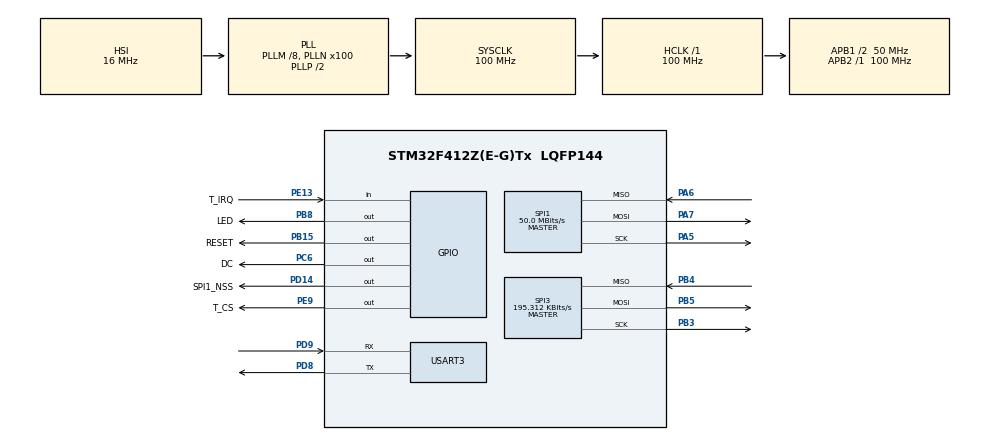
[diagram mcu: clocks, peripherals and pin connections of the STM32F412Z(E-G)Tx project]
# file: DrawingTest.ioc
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Dma.Request0=SPI1_TX
Dma.SPI1_TX.0.Direction=DMA_MEMORY_TO_PERIPH
Dma.SPI1_TX.0.FIFOMode=DMA_FIFOMODE_DISABLE
Dma.SPI1_TX.0.Instance=DMA2_Stream2
Dma.SPI1_TX.0.MemDataAlignment=DMA_MDATAALIGN_BYTE
Dma.SPI1_TX.0.MemInc=DMA_MINC_ENABLE
Dma.SPI1_TX.0.Mode=DMA_NORMAL
Dma.SPI1_TX.0.PeriphDataAlignment=DMA_PDATAALIGN_BYTE
Dma.SPI1_TX.0.PeriphInc=DMA_PINC_DISABLE
Dma.SPI1_TX.0.Priority=DMA_PRIORITY_LOW
Mcu.Family=STM32F4
Mcu.Name=STM32F412Z(E-G)Tx
Mcu.Package=LQFP144
NVIC.DMA2_Stream2_IRQn=true\:1\:0\:true\:false\:true\:false\:true
NVIC.PriorityGroup=NVIC_PRIORITYGROUP_4
NVIC.SPI1_IRQn=true\:2\:0\:true\:false\:true\:true\:true
NVIC.SPI3_IRQn=true\:3\:0\:true\:false\:true\:true\:true
NVIC.USART3_IRQn=true\:4\:0\:true\:false\:true\:true\:true
PA5.Mode=Full_Duplex_Master
PA5.Signal=SPI1_SCK
PA6.Mode=Full_Duplex_Master
PA6.Signal=SPI1_MISO
PA7.Mode=Full_Duplex_Master
PA7.Signal=SPI1_MOSI
PB15.GPIO_Label=RESET
PB15.GPIO_Speed=GPIO_SPEED_FREQ_VERY_HIGH
PB15.PinState=GPIO_PIN_SET
PB15.Signal=GPIO_Output
PB3.Mode=Full_Duplex_Master
PB3.Signal=SPI3_SCK
PB4.Mode=Full_Duplex_Master
PB4.Signal=SPI3_MISO
PB5.Mode=Full_Duplex_Master
PB5.Signal=SPI3_MOSI
PB8.GPIO_Label=LED
PB8.GPIO_Speed=GPIO_SPEED_FREQ_VERY_HIGH
PB8.PinState=GPIO_PIN_SET
PB8.Signal=GPIO_Output
PC6.GPIO_Label=DC
PC6.GPIO_Speed=GPIO_SPEED_FREQ_VERY_HIGH
PC6.PinState=GPIO_PIN_SET
PC6.Signal=GPIO_Output
PD14.GPIO_Label=SPI1_NSS
PD14.GPIO_Speed=GPIO_SPEED_FREQ_VERY_HIGH
PD14.PinState=GPIO_PIN_SET
PD14.Signal=GPIO_Output
PD8.Mode=Asynchronous
PD8.Signal=USART3_TX
PD9.Mode=Asynchronous
PD9.Signal=USART3_RX
PE13.GPIO_Label=T_IRQ
PE13.Signal=GPIO_Input
PE9.GPIO_Label=T_CS
PE9.GPIO_PuPd=GPIO_NOPULL
PE9.GPIO_Speed=GPIO_SPEED_FREQ_VERY_HIGH
PE9.PinState=GPIO_PIN_SET
PE9.Signal=GPIO_Output
ProjectManager.HeapSize=0x200
ProjectManager.StackSize=0x400
ProjectManager.TargetToolchain=STM32CubeIDE
RCC.AHBFreq_Value=100000000
RCC.APB1CLKDivider=RCC_HCLK_DIV2
RCC.APB1Freq_Value=50000000
RCC.APB1TimFreq_Value=100000000
RCC.APB2Freq_Value=100000000
RCC.APB2TimFreq_Value=100000000
RCC.CortexFreq_Value=100000000
RCC.HCLKFreq_Value=100000000
RCC.PLLM=8
RCC.PLLN=100
RCC.SYSCLKFreq_VALUE=100000000
RCC.SYSCLKSource=RCC_SYSCLKSOURCE_PLLCLK
RCC.USBFreq_Value=100000000
RCC.VCOOutputFreq_Value=200000000
SPI1.CalculateBaudRate=50.0 MBits/s
SPI1.Direction=SPI_DIRECTION_2LINES
SPI1.Mode=SPI_MODE_MASTER
SPI1.VirtualType=VM_MASTER
SPI3.BaudRatePrescaler=SPI_BAUDRATEPRESCALER_256
SPI3.CalculateBaudRate=195.312 KBits/s
SPI3.Direction=SPI_DIRECTION_2LINES
SPI3.Mode=SPI_MODE_MASTER
SPI3.VirtualType=VM_MASTER
USART3.VirtualMode=VM_ASYNC
board=custom

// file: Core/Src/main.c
/* USER CODE BEGIN Header */
/**
  ******************************************************************************
  * @file           : main.c
  * @brief          : Main program body
  ******************************************************************************
  * @attention
  *
  * <h2><center>&copy; Copyright (c) 2020 STMicroelectronics.
  * All rights reserved.</center></h2>
  *
  * This software component is licensed by ST under BSD 3-Clause license,
  * the "License"; You may not use this file except in compliance with the
  * License. You may obtain a copy of the License at:
  *                        opensource.org/licenses/BSD-3-Clause
  *
  ******************************************************************************
  */
/* USER CODE END Header */

#include "main.h"

/* USER CODE BEGIN Includes */
#include "gui.h"
#include "ili9341.h"
#include "xpt2046.h"
#include <stdio.h>
#include <string.h>

/* USER CODE END Includes */

SPI_HandleTypeDef hspi1;
SPI_HandleTypeDef hspi3;
DMA_HandleTypeDef hdma_spi1_tx;

UART_HandleTypeDef huart3;

void SystemClock_Config(void);
static void MX_GPIO_Init(void);
static void MX_DMA_Init(void);
static void MX_SPI1_Init(void);
static void MX_SPI3_Init(void);
static void MX_USART3_UART_Init(void);

int main(void)
{
  /* USER CODE BEGIN 1 */
	uint16_t x, y;

  /* USER CODE END 1 */

  /* MCU Configuration--------------------------------------------------------*/

  /* Reset of all peripherals, Initializes the Flash interface and the Systick. */
  HAL_Init();

  /* Configure the system clock */
  SystemClock_Config();

  /* Initialize all configured peripherals */
  MX_GPIO_Init();
  MX_DMA_Init();
  MX_SPI1_Init();
  MX_SPI3_Init();
  MX_USART3_UART_Init();
  /* USER CODE BEGIN 2 */
  __HAL_SPI_DISABLE(&hspi3);
  x = y = 0;
  ILI9341_Init();
  GUI_FillScreen(BLUE);
  GUI_UpdateScreen();

  /* USER CODE END 2 */

  /* Infinite loop */
  while (1)
  {

    /* USER CODE BEGIN 3 */
	  XPT2046_Update(&x, &y);
	  if (XPT2046_IsReasonable(x, y)) {
		  uint8_t str[16];
		  GUI_NormalizeXY((int16_t *)&x, (int16_t *)&y);
		  GUI_WriteSquare(x, y, WHITE);
		  sprintf((char *)str, "%d %d\n", x, y);
		  HAL_UART_Transmit(&huart3, str, strlen((char *)str), 1000);
	  }
  }
  /* USER CODE END 3 */
}

void SystemClock_Config(void)
{
  RCC_OscInitTypeDef RCC_OscInitStruct = {0};
  RCC_ClkInitTypeDef RCC_ClkInitStruct = {0};

  /** Configure the main internal regulator output voltage
  */
  __HAL_RCC_PWR_CLK_ENABLE();
  __HAL_PWR_VOLTAGESCALING_CONFIG(PWR_REGULATOR_VOLTAGE_SCALE1);
  /** Initializes the CPU, AHB and APB busses clocks
  */
  RCC_OscInitStruct.OscillatorType = RCC_OSCILLATORTYPE_HSI;
  RCC_OscInitStruct.HSIState = RCC_HSI_ON;
  RCC_OscInitStruct.HSICalibrationValue = RCC_HSICALIBRATION_DEFAULT;
  RCC_OscInitStruct.PLL.PLLState = RCC_PLL_ON;
  RCC_OscInitStruct.PLL.PLLSource = RCC_PLLSOURCE_HSI;
  RCC_OscInitStruct.PLL.PLLM = 8;
  RCC_OscInitStruct.PLL.PLLN = 100;
  RCC_OscInitStruct.PLL.PLLP = RCC_PLLP_DIV2;
  RCC_OscInitStruct.PLL.PLLQ = 2;
  RCC_OscInitStruct.PLL.PLLR = 2;
  if (HAL_RCC_OscConfig(&RCC_OscInitStruct) != HAL_OK)
  {
    Error_Handler();
  }
  /** Initializes the CPU, AHB and APB busses clocks
  */
  RCC_ClkInitStruct.ClockType = RCC_CLOCKTYPE_HCLK|RCC_CLOCKTYPE_SYSCLK
                              |RCC_CLOCKTYPE_PCLK1|RCC_CLOCKTYPE_PCLK2;
  RCC_ClkInitStruct.SYSCLKSource = RCC_SYSCLKSOURCE_PLLCLK;
  RCC_ClkInitStruct.AHBCLKDivider = RCC_SYSCLK_DIV1;
  RCC_ClkInitStruct.APB1CLKDivider = RCC_HCLK_DIV2;
  RCC_ClkInitStruct.APB2CLKDivider = RCC_HCLK_DIV1;

  if (HAL_RCC_ClockConfig(&RCC_ClkInitStruct, FLASH_LATENCY_3) != HAL_OK)
  {
    Error_Handler();
  }
}

static void MX_SPI1_Init(void)
{

  /* SPI1 parameter configuration*/
  hspi1.Instance = SPI1;
  hspi1.Init.Mode = SPI_MODE_MASTER;
  hspi1.Init.Direction = SPI_DIRECTION_2LINES;
  hspi1.Init.DataSize = SPI_DATASIZE_8BIT;
  hspi1.Init.CLKPolarity = SPI_POLARITY_LOW;
  hspi1.Init.CLKPhase = SPI_PHASE_1EDGE;
  hspi1.Init.NSS = SPI_NSS_SOFT;
  hspi1.Init.BaudRatePrescaler = SPI_BAUDRATEPRESCALER_2;
  hspi1.Init.FirstBit = SPI_FIRSTBIT_MSB;
  hspi1.Init.TIMode = SPI_TIMODE_DISABLE;
  hspi1.Init.CRCCalculation = SPI_CRCCALCULATION_DISABLE;
  hspi1.Init.CRCPolynomial = 10;
  if (HAL_SPI_Init(&hspi1) != HAL_OK)
  {
    Error_Handler();
  }

}

static void MX_SPI3_Init(void)
{

  /* SPI3 parameter configuration*/
  hspi3.Instance = SPI3;
  hspi3.Init.Mode = SPI_MODE_MASTER;
  hspi3.Init.Direction = SPI_DIRECTION_2LINES;
  hspi3.Init.DataSize = SPI_DATASIZE_8BIT;
  hspi3.Init.CLKPolarity = SPI_POLARITY_LOW;
  hspi3.Init.CLKPhase = SPI_PHASE_1EDGE;
  hspi3.Init.NSS = SPI_NSS_SOFT;
  hspi3.Init.BaudRatePrescaler = SPI_BAUDRATEPRESCALER_256;
  hspi3.Init.FirstBit = SPI_FIRSTBIT_MSB;
  hspi3.Init.TIMode = SPI_TIMODE_DISABLE;
  hspi3.Init.CRCCalculation = SPI_CRCCALCULATION_DISABLE;
  hspi3.Init.CRCPolynomial = 10;
  if (HAL_SPI_Init(&hspi3) != HAL_OK)
  {
    Error_Handler();
  }

}

static void MX_USART3_UART_Init(void)
{

  huart3.Instance = USART3;
  huart3.Init.BaudRate = 115200;
  huart3.Init.WordLength = UART_WORDLENGTH_8B;
  huart3.Init.StopBits = UART_STOPBITS_1;
  huart3.Init.Parity = UART_PARITY_NONE;
  huart3.Init.Mode = UART_MODE_TX_RX;
  huart3.Init.HwFlowCtl = UART_HWCONTROL_NONE;
  huart3.Init.OverSampling = UART_OVERSAMPLING_16;
  if (HAL_UART_Init(&huart3) != HAL_OK)
  {
    Error_Handler();
  }

}

static void MX_DMA_Init(void)
{

  /* DMA controller clock enable */
  __HAL_RCC_DMA2_CLK_ENABLE();

  /* DMA interrupt init */
  /* DMA2_Stream2_IRQn interrupt configuration */
  HAL_NVIC_SetPriority(DMA2_Stream2_IRQn, 1, 0);
  HAL_NVIC_EnableIRQ(DMA2_Stream2_IRQn);

}

static void MX_GPIO_Init(void)
{
  GPIO_InitTypeDef GPIO_InitStruct = {0};

  /* GPIO Ports Clock Enable */
  __HAL_RCC_GPIOA_CLK_ENABLE();
  __HAL_RCC_GPIOE_CLK_ENABLE();
  __HAL_RCC_GPIOB_CLK_ENABLE();
  __HAL_RCC_GPIOD_CLK_ENABLE();
  __HAL_RCC_GPIOC_CLK_ENABLE();

  /*Configure GPIO pin Output Level */
  HAL_GPIO_WritePin(T_CS_GPIO_Port, T_CS_Pin, GPIO_PIN_SET);

  /*Configure GPIO pin Output Level */
  HAL_GPIO_WritePin(GPIOB, RESET_Pin|LED_Pin, GPIO_PIN_SET);

  /*Configure GPIO pin Output Level */
  HAL_GPIO_WritePin(SPI1_NSS_GPIO_Port, SPI1_NSS_Pin, GPIO_PIN_SET);

  /*Configure GPIO pin Output Level */
  HAL_GPIO_WritePin(DC_GPIO_Port, DC_Pin, GPIO_PIN_SET);

  /*Configure GPIO pin : T_CS_Pin */
  GPIO_InitStruct.Pin = T_CS_Pin;
  GPIO_InitStruct.Mode = GPIO_MODE_OUTPUT_PP;
  GPIO_InitStruct.Pull = GPIO_NOPULL;
  GPIO_InitStruct.Speed = GPIO_SPEED_FREQ_VERY_HIGH;
  HAL_GPIO_Init(T_CS_GPIO_Port, &GPIO_InitStruct);

  /*Configure GPIO pin : T_IRQ_Pin */
  GPIO_InitStruct.Pin = T_IRQ_Pin;
  GPIO_InitStruct.Mode = GPIO_MODE_INPUT;
  GPIO_InitStruct.Pull = GPIO_NOPULL;
  HAL_GPIO_Init(T_IRQ_GPIO_Port, &GPIO_InitStruct);

  /*Configure GPIO pins : RESET_Pin LED_Pin */
  GPIO_InitStruct.Pin = RESET_Pin|LED_Pin;
  GPIO_InitStruct.Mode = GPIO_MODE_OUTPUT_PP;
  GPIO_InitStruct.Pull = GPIO_NOPULL;
  GPIO_InitStruct.Speed = GPIO_SPEED_FREQ_VERY_HIGH;
  HAL_GPIO_Init(GPIOB, &GPIO_InitStruct);

  /*Configure GPIO pin : SPI1_NSS_Pin */
  GPIO_InitStruct.Pin = SPI1_NSS_Pin;
  GPIO_InitStruct.Mode = GPIO_MODE_OUTPUT_PP;
  GPIO_InitStruct.Pull = GPIO_NOPULL;
  GPIO_InitStruct.Speed = GPIO_SPEED_FREQ_VERY_HIGH;
  HAL_GPIO_Init(SPI1_NSS_GPIO_Port, &GPIO_InitStruct);

  /*Configure GPIO pin : DC_Pin */
  GPIO_InitStruct.Pin = DC_Pin;
  GPIO_InitStruct.Mode = GPIO_MODE_OUTPUT_PP;
  GPIO_InitStruct.Pull = GPIO_NOPULL;
  GPIO_InitStruct.Speed = GPIO_SPEED_FREQ_VERY_HIGH;
  HAL_GPIO_Init(DC_GPIO_Port, &GPIO_InitStruct);

}

void Error_Handler(void)
{
}

/************************ (C) COPYRIGHT STMicroelectronics *****END OF FILE****/
